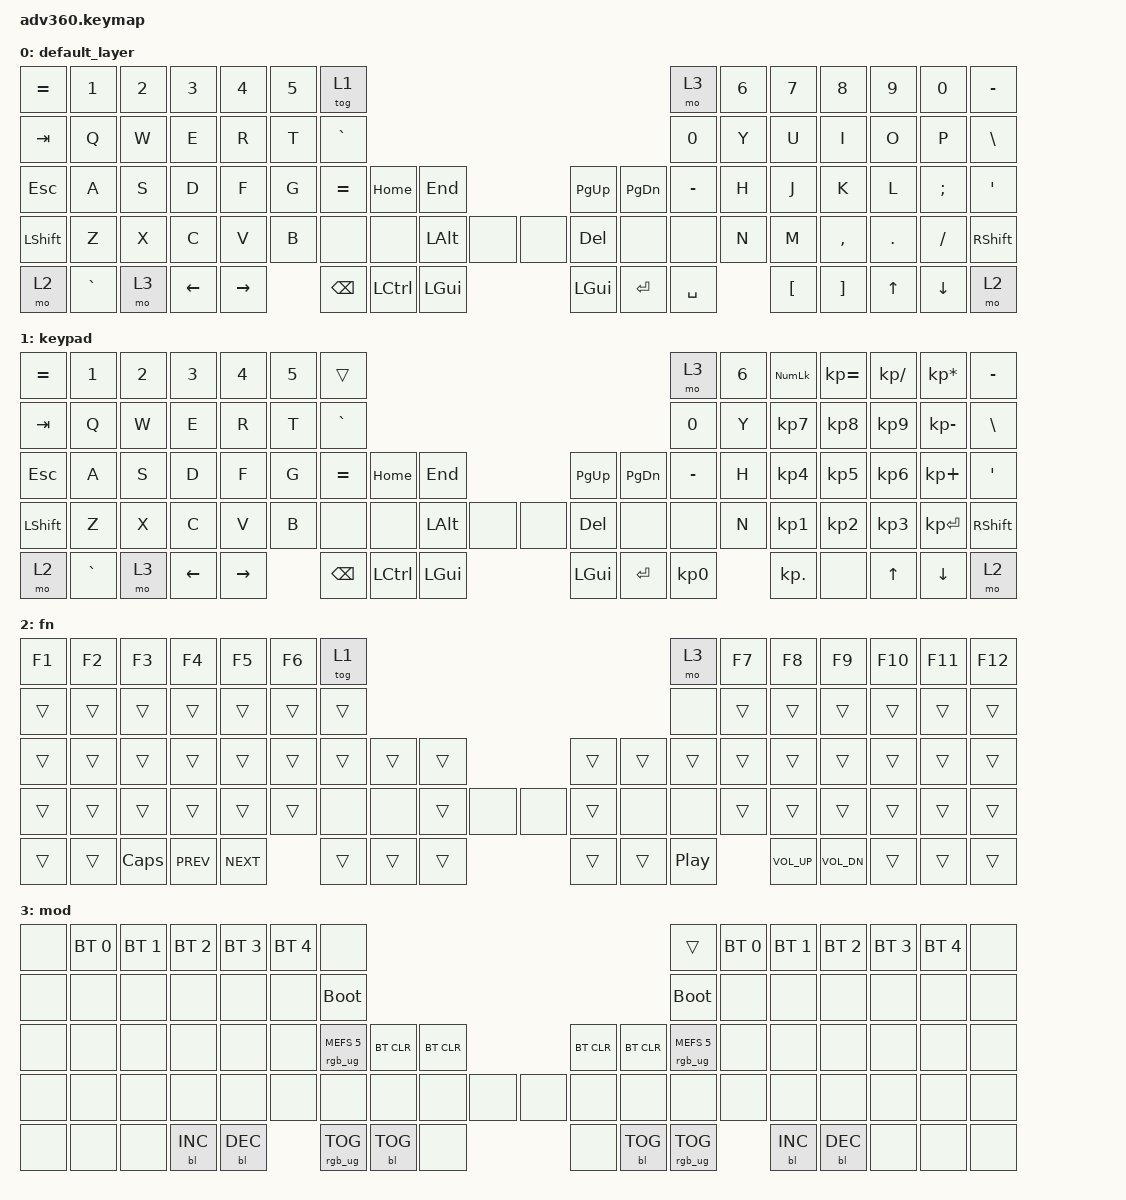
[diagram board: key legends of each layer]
#include <behaviors.dtsi>
#include <dt-bindings/zmk/keys.h>
#include <dt-bindings/zmk/bt.h>
#include <dt-bindings/zmk/rgb.h>
#include <dt-bindings/zmk/backlight.h>

/ {
    behaviors {
      #include "macros.dtsi"

      hm: homerow_mods {
          compatible = "zmk,behavior-hold-tap";
          label = "HOMEROW_MODS";
          #binding-cells = <2>;
          tapping-term-ms = <200>;
          quick_tap_ms = <175>;
          flavor = "tap-preferred";
          bindings = <&kp>, <&kp>;
      };
    };

  keymap {
    compatible = "zmk,keymap";

    default_layer {
      bindings = <
        &kp EQUAL &kp N1    &kp N2   &kp N3   &kp N4     &kp N5 &tog 1                                                                       &mo 3     &kp N6   &kp N7    &kp N8    &kp N9    &kp N0    &kp MINUS
        &kp TAB   &kp Q     &kp W    &kp E    &kp R      &kp T  &kp GRAVE                                                                    &kp N0    &kp Y    &kp U     &kp I     &kp O     &kp P     &kp BSLH
        &kp ESC   &kp A     &kp S    &kp D    &kp F      &kp G  &kp EQUAL       &kp HOME  &kp END              &kp PG_UP &kp PG_DN           &kp MINUS &kp H    &kp J     &kp K     &kp L     &kp SEMI  &kp SQT
        &kp LSHFT &kp Z     &kp X    &kp C    &kp V      &kp B         &none    &none     &kp LALT &none &none &kp DEL   &none     &none               &kp N    &kp M     &kp COMMA &kp DOT   &kp FSLH  &kp RSHFT
        &mo 2     &kp GRAVE &mo 3    &kp LEFT &kp RIGHT                &kp BSPC &kp LCTRL &kp LGUI             &kp LGUI  &kp ENTER &kp SPACE                    &kp LBKT  &kp RBKT  &kp UP    &kp DOWN  &mo 2
      >;
    };
    keypad {
      bindings = <
        &kp EQUAL &kp N1    &kp N2   &kp N3   &kp N4     &kp N5 &trans                                                                       &mo 3      &kp N6    &kp KP_NUM &kp KP_EQUAL &kp KP_DIVIDE &kp KP_MULTIPLY &kp MINUS
        &kp TAB   &kp Q     &kp W    &kp E    &kp R      &kp T  &kp GRAVE                                                                    &kp N0     &kp Y     &kp KP_N7  &kp KP_N8    &kp KP_N9     &kp KP_MINUS    &kp BSLH
        &kp ESC   &kp A     &kp S    &kp D    &kp F      &kp G  &kp EQUAL       &kp HOME  &kp END              &kp PG_UP &kp PG_DN           &kp MINUS  &kp H     &kp KP_N4  &kp KP_N5    &kp KP_N6     &kp KP_PLUS     &kp SQT
        &kp LSHFT &kp Z     &kp X    &kp C    &kp V      &kp B         &none    &none     &kp LALT &none &none &kp DEL   &none     &none                &kp N     &kp KP_N1  &kp KP_N2    &kp KP_N3     &kp KP_ENTER    &kp RSHFT
        &mo 2     &kp GRAVE &mo 3    &kp LEFT &kp RIGHT                &kp BSPC &kp LCTRL &kp LGUI             &kp LGUI  &kp ENTER &kp KP_N0                      &kp KP_DOT &none        &kp UP        &kp DOWN        &mo 2
      >;
    };
    fn {
      bindings = <
        &kp F1 &kp F2 &kp F3 &kp F4 &kp F5 &kp F6 &tog 1                                                       &mo 3 &kp F7 &kp F8 &kp F9 &kp F10 &kp F11 &kp F12
        &trans &trans &trans &trans &trans &trans  &trans                                                       &none &trans &trans &trans &trans  &trans  &trans
        &trans &trans &trans &trans &trans &trans  &trans        &trans &trans             &trans &trans        &trans &trans &trans &trans &trans  &trans  &trans
        &trans &trans &trans &trans &trans &trans        &none  &none  &trans &none &none &trans &none  &none        &trans &trans &trans &trans  &trans  &trans
        &trans &trans &kp CAPS &kp C_PREV &kp C_NEXT               &trans &trans &trans             &trans &trans &kp C_PP              &kp C_VOL_UP &kp C_VOL_DN &trans  &trans  &trans
      >;
    };
    mod {
      bindings = <
        &none &bt BT_SEL 0 &bt BT_SEL 1 &bt BT_SEL 2 &bt BT_SEL 3 &bt BT_SEL 4 &none                                                                                                          &trans                 &bt BT_SEL 0 &bt BT_SEL 1 &bt BT_SEL 2 &bt BT_SEL 3 &bt BT_SEL 4 &none
        &none &none        &none        &none        &none        &none        &bootloader                                                                                                    &bootloader            &none        &none        &none        &none        &none        &none
        &none &none        &none        &none        &none        &none        &rgb_ug RGB_MEFS_CMD 5                 &bt BT_CLR &bt BT_CLR             &bt BT_CLR &bt BT_CLR                 &rgb_ug RGB_MEFS_CMD 5 &none        &none        &none        &none        &none        &none
        &none &none        &none        &none        &none        &none                               &none           &none      &none      &none &none &none      &none      &none                                  &none        &none        &none        &none        &none        &none
        &none &none        &none        &bl BL_INC   &bl BL_DEC                                       &rgb_ug RGB_TOG &bl BL_TOG &none                  &none      &bl BL_TOG &rgb_ug RGB_TOG                                     &bl BL_INC   &bl BL_DEC   &none        &none        &none
      >;
    };
  };
};
